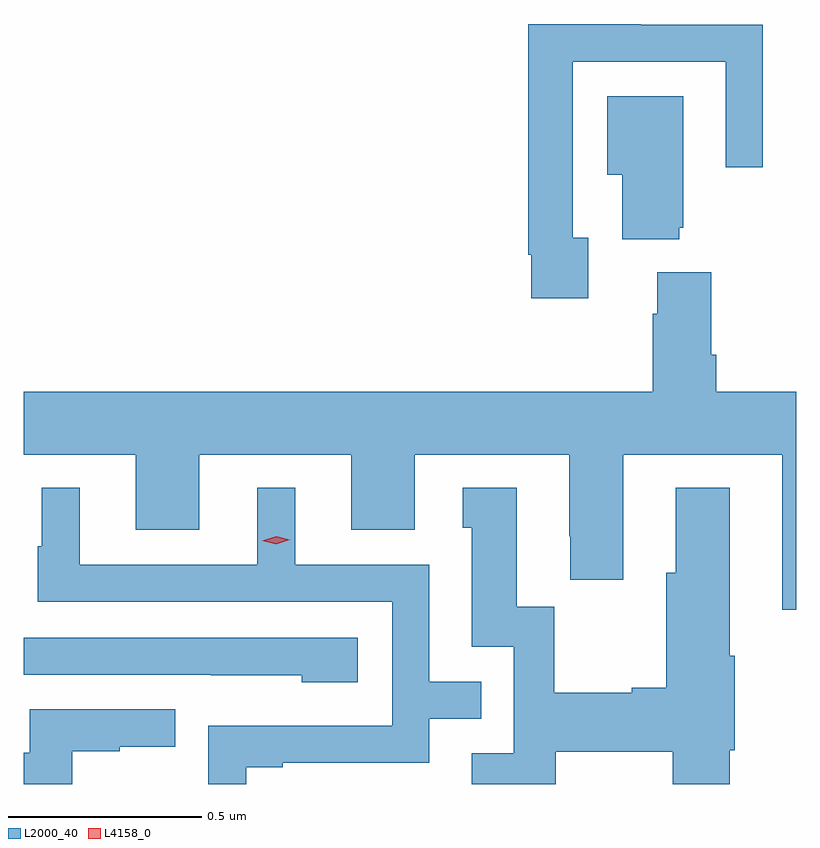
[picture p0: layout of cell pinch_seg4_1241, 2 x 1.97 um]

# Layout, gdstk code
import gdstk
lib = gdstk.Library(unit=1e-6, precision=1e-09)
def P(c, l, *ps):  # polygons
    for p in ps: c.add(gdstk.Polygon(p, *l))
L2000_40 = (2000, 40)
L4158_0 = (4158, 0)

pinch_seg4_1241 = lib.new_cell('pinch_seg4_1241')
P(pinch_seg4_1241, L2000_40, [(375.505,821.358),(375.465,821.358),(375.465,821.814),(375.861,821.814),(375.861,821.541),(375.957,821.541),(375.957,821.91),(375.641,821.91),(375.641,821.912),(375.349,821.912),(375.349,821.314),(375.357,821.314),(375.357,821.202),(375.505,821.202)],
  [(375.74,821.385),(375.751,821.385),(375.751,821.725),(375.554,821.725),(375.554,821.522),(375.593,821.522),(375.593,821.354),(375.74,821.354)],
  [(376.043,820.96),(375.836,820.96),(375.836,821.056),(375.823,821.056),(375.823,821.269),(375.683,821.269),(375.683,821.162),(375.671,821.162),(375.671,820.96),(374.043,820.96),(374.043,820.796),(374.333,820.796),(374.333,820.602),(374.497,820.602),(374.497,820.796),(374.891,820.796),(374.891,820.602),(375.055,820.602),(375.055,820.796),(375.455,820.796),(375.455,820.585),(375.458,820.585),(375.458,820.473),(375.595,820.473),(375.595,820.796),(376.007,820.796),(376.007,820.395),(376.043,820.395)],
  [(374.619,819.987),(374.713,819.987),(374.713,819.999),(375.093,819.999),(375.093,820.113),(375.227,820.113),(375.227,820.209),(375.093,820.209),(375.093,820.512),(374.746,820.512),(374.746,820.711),(374.648,820.711),(374.648,820.512),(374.188,820.512),(374.188,820.711),(374.09,820.711),(374.09,820.56),(374.079,820.56),(374.079,820.416),(374.997,820.416),(374.997,820.095),(374.52,820.095),(374.52,819.944),(374.619,819.944)],
  [(375.421,820.028),(375.724,820.028),(375.724,819.944),(375.871,819.944),(375.871,820.032),(375.884,820.032),(375.884,820.276),(375.871,820.276),(375.871,820.711),(375.731,820.711),(375.731,820.491),(375.706,820.491),(375.706,820.193),(375.617,820.193),(375.617,820.18),(375.417,820.18),(375.417,820.403),(375.319,820.403),(375.319,820.711),(375.179,820.711),(375.179,820.608),(375.203,820.608),(375.203,820.299),(375.312,820.299),(375.312,820.023),(375.203,820.023),(375.203,819.944),(375.421,819.944)],
  [(374.908,820.323),(374.043,820.323),(374.043,820.227),(374.527,820.227),(374.527,820.226),(374.763,820.226),(374.763,820.208),(374.908,820.208)],
  [(374.168,820.029),(374.291,820.029),(374.291,820.04),(374.435,820.04),(374.435,820.137),(374.058,820.137),(374.058,820.025),(374.043,820.025),(374.043,819.944),(374.168,819.944)])
P(pinch_seg4_1241, L4158_0, [(374.697,820.565),(374.661,820.574),(374.661,820.574),(374.661,820.574),(374.697,820.585),(374.732,820.576),(374.733,820.576),(374.732,820.576)])

lib.write_gds('pinch_seg4_1241.gds')
